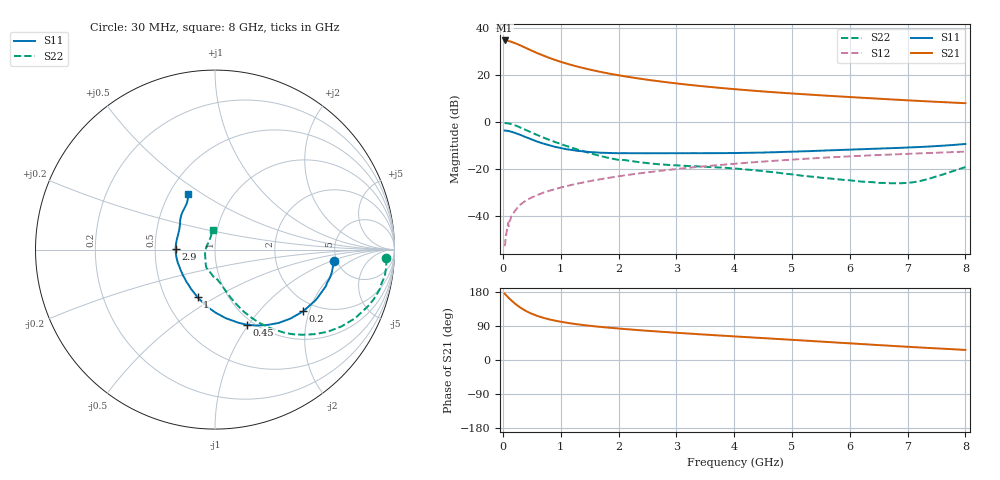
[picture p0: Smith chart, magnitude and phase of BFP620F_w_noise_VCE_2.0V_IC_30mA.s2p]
! Infineon Technologies  Discrete & RF Semiconductors
! BFP620F
! VCE =  2.0 V,  IC =  30 mA
! Common Emitter S-Parameters:  Dec 2014
# GHz  S  MA  R  50
!  f  S11  S21  S12  S22
! GHz  MAG  ANG  MAG  ANG  MAG  ANG  MAG  ANG
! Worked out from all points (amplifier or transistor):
!   95 points, 30 MHz to 8 GHz, reference 50 ohm
!   highest |S21| = 34.8 dB at 30 MHz (marker M1)
!   |S21| within 3 dB of that: start of sweep to 381.2 MHz
!   unconditionally stable (mu >= 1): 2.434 GHz to end of sweep
!   at 300 MHz: K = 0.39, MSG = 34.0 dB, |S12| = -35.1 dB
!   at 3.3 GHz: K = 1.02, MAG = 16.5 dB, |S12| = -19.2 dB
!   at 8 GHz: K = 1.06, MAG = 8.8 dB, |S12| = -12.5 dB
!   lowest NFmin = 1.13 dB at 450 MHz
!   S11 on the Smith chart (normalised r, x): 30 MHz: 4.73, -1.08; 200 MHz: 1.70, -1.82; 450 MHz: 0.93, -0.99; 1 GHz: 0.72, -0.42; 2.9 GHz: 0.64, +0.00; 8 GHz: 0.62, +0.44
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0.03  0.6659 -5.5  55.22 175.1  0.0023 66.4  0.9556 -2.9
0.07  0.6606 -12.9  54.6 168.7  0.0051 81.3  0.9572 -8.8
0.11  0.6443 -20.1  53.19 162.4  0.0076 80.6  0.9387 -14.6
0.15  0.6266 -26.9  51.5 156.8  0.0101 77.1  0.9129 -19.8
0.2  0.5997 -35.0  48.9 150.1  0.0125 74.9  0.87 -26.0
0.25  0.5692 -42.5  46.23 144.0  0.015 70.8  0.8242 -31.3
0.3  0.5404 -49.2  43.47 138.6  0.0175 70.5  0.7761 -36.2
0.35  0.5091 -55.7  40.68 133.7  0.0195 68.9  0.7284 -40.3
0.45  0.4555 -66.8  35.73 125.5  0.0232 67.2  0.6421 -47.3
0.5  0.4292 -72.0  33.47 122.1  0.025 66.5  0.6025 -50.2
0.6  0.3864 -81.2  29.54 116.1  0.0284 65.5  0.5317 -55.1
0.7  0.3518 -89.3  26.3 111.3  0.0317 64.8  0.4737 -59.1
0.8  0.3246 -96.8  23.57 107.3  0.0346 64.8  0.4233 -62.3
1  0.2831 -110.0  19.41 101.0  0.0407 64.6  0.3448 -67.4
1.4  0.2396 -131.8  14.18 92.1  0.0525 64.3  0.24 -75.3
2  0.2193 -156.8  10.03 83.1  0.0707 63.1  0.1584 -87.9
2.7  0.2192 -176.4  7.458 75.0  0.0918 60.1  0.1277 -102.9
2.9  0.2194 179.2  6.948 72.9  0.0978 59.2  0.1227 -106.4
4.1  0.2222 157.3  4.957 61.4  0.1337 52.7  0.1016 -119.9
5.4  0.2456 142.4  3.815 49.5  0.1718 44.5  0.0686 -142.9
6.7  0.2805 129.1  3.076 37.6  0.2054 35.4  0.0504 162.6
8  0.3449 115.8  2.549 26.5  0.2367 26.7  0.111 96.6
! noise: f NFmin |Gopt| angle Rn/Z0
0.45  1.13  0.05  -172  0.18
0.9  1.16  0.05  -171  0.14
1.5  1.18  0.12  -148  0.15
1.8  1.19  0.12  -147  0.16
1.9  1.19  0.12  -146  0.16
2.4  1.21  0.12  -146  0.17
3.5  1.27  0.14  -141  0.18
5.5  1.42  0.21  241  0.13
6  1.47  0.22  260  0.16
